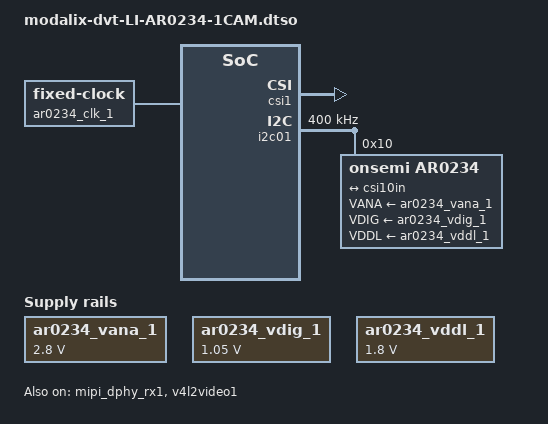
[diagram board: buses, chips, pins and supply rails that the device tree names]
// SPDX-License-Identifier: (GPL-2.0+ OR MIT)
/*
 * Copyright (c) 2026 SiMa ai
 */

/dts-v1/;
/plugin/;

&{/} {
    ar0234_vana_1: csi1_fixedregulator@0 {
        compatible = "regulator-fixed";
        regulator-name = "ar0234_vana_1";
        regulator-min-microvolt = <2800000>;
        regulator-max-microvolt = <2800000>;
        enable-active-high;
        startup-delay-us = <300000>;
        regulator-always-on;
    };
    ar0234_vdig_1: csi1_fixedregulator@1 {
        compatible = "regulator-fixed";
        regulator-name = "ar0234_vdig_1";
        regulator-min-microvolt = <1050000>;
        regulator-max-microvolt = <1050000>;
        regulator-always-on;
    };
    ar0234_vddl_1: csi1_fixedregulator@2 {
        compatible = "regulator-fixed";
        regulator-name = "ar0234_vddl_1";
        regulator-min-microvolt = <1800000>;
        regulator-max-microvolt = <1800000>;
        regulator-always-on;
    };
    ar0234_clk_1: csi1_camera-clk {
        compatible = "fixed-clock";
        #clock-cells = <0>;
        clock-frequency = <27000000>;
    };
};

&csi1 {
    status = "okay";
};

&axi_vdma1 {
    status = "okay";
};

&mipi_dphy_rx1 {
    status = "okay";
};

&v4l2video1 {
    status = "okay";
};

&v4l2vdma1 {
    status = "okay";
};

&csi10in{
    clock-lanes = <0>;
    data-lanes = <1 2>;
    link-frequencies = /bits/ 64 <270000000>;
    remote-endpoint = <&cam10out>;
    clock-continuous;
};

&i2c01 {
        status = "okay";
        clock-frequency = <400000>;
        #address-cells = <1>;
        #size-cells = <0>;

        ar0234: ar0234@10 {
                compatible = "onsemi,ar0234";
                reg = <0x10>;

                clocks = <&ar0234_clk_1>;
                clock-names = "xclk";

                VANA-supply = <&ar0234_vana_1>;
                VDIG-supply = <&ar0234_vdig_1>;
                VDDL-supply = <&ar0234_vddl_1>;

                port@1 {
                        cam10out: endpoint@0 {
                                clock-lanes = <0>;
                                data-lanes = <1 2>;
                                link-frequencies = /bits/ 64 <270000000>;
                                remote-endpoint = <&csi10in>;
                                clock-continuous;
                        };
                };
        };
};
